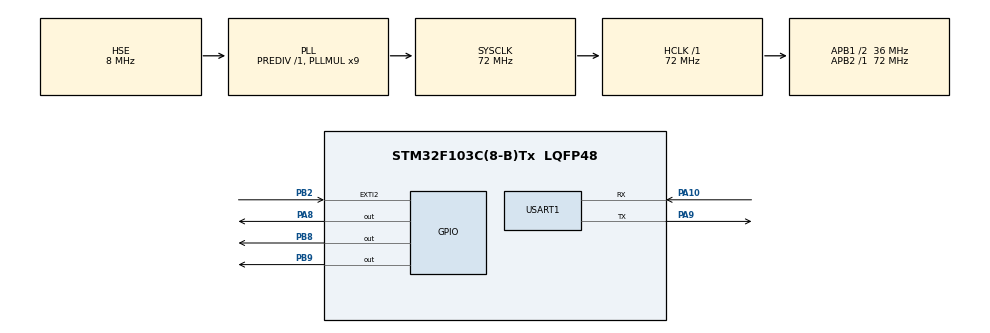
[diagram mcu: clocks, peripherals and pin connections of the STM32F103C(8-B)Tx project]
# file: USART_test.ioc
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Dma.Request0=USART1_TX
Dma.USART1_TX.0.Direction=DMA_MEMORY_TO_PERIPH
Dma.USART1_TX.0.Instance=DMA1_Channel4
Dma.USART1_TX.0.MemDataAlignment=DMA_MDATAALIGN_BYTE
Dma.USART1_TX.0.MemInc=DMA_MINC_ENABLE
Dma.USART1_TX.0.Mode=DMA_NORMAL
Dma.USART1_TX.0.PeriphDataAlignment=DMA_PDATAALIGN_BYTE
Dma.USART1_TX.0.PeriphInc=DMA_PINC_DISABLE
Dma.USART1_TX.0.Priority=DMA_PRIORITY_LOW
IWDG.Prescaler=IWDG_PRESCALER_64
Mcu.Family=STM32F1
Mcu.Name=STM32F103C(8-B)Tx
Mcu.Package=LQFP48
NVIC.DMA1_Channel4_IRQn=true\:0\:0\:false\:false\:true\:false\:true\:true
NVIC.EXTI2_IRQn=true\:6\:0\:false\:false\:true\:true\:true\:true
NVIC.PriorityGroup=NVIC_PRIORITYGROUP_4
NVIC.TIM3_IRQn=true\:1\:0\:true\:false\:true\:false\:true\:true
NVIC.TimeBase=TIM3_IRQn
NVIC.TimeBaseIP=TIM3
NVIC.USART1_IRQn=true\:6\:0\:false\:false\:true\:true\:true\:true
PA10.Mode=Asynchronous
PA10.Signal=USART1_RX
PA13.Mode=Serial_Wire
PA13.Signal=SYS_JTMS-SWDIO
PA14.Mode=Serial_Wire
PA14.Signal=SYS_JTCK-SWCLK
PA8.GPIO_ModeDefaultOutputPP=GPIO_MODE_OUTPUT_PP
PA8.GPIO_PuPd=GPIO_NOPULL
PA8.GPIO_Speed=GPIO_SPEED_FREQ_HIGH
PA8.Signal=GPIO_Output
PA9.Mode=Asynchronous
PA9.Signal=USART1_TX
PB2.GPIO_ModeDefaultEXTI=GPIO_MODE_IT_RISING
PB2.GPIO_PuPd=GPIO_PULLDOWN
PB2.Signal=GPXTI2
PB8.GPIO_ModeDefaultOutputPP=GPIO_MODE_OUTPUT_OD
PB8.GPIO_PuPd=GPIO_NOPULL
PB8.GPIO_Speed=GPIO_SPEED_FREQ_HIGH
PB8.Signal=GPIO_Output
PB9.GPIO_ModeDefaultOutputPP=GPIO_MODE_OUTPUT_OD
PB9.GPIO_PuPd=GPIO_NOPULL
PB9.GPIO_Speed=GPIO_SPEED_FREQ_HIGH
PB9.PinState=GPIO_PIN_RESET
PB9.Signal=GPIO_Output
PC14-OSC32_IN.Mode=LSE-External-Oscillator
PC14-OSC32_IN.Signal=RCC_OSC32_IN
PC15-OSC32_OUT.Mode=LSE-External-Oscillator
PC15-OSC32_OUT.Signal=RCC_OSC32_OUT
PD0-OSC_IN.Mode=HSE-External-Oscillator
PD0-OSC_IN.Signal=RCC_OSC_IN
PD1-OSC_OUT.Mode=HSE-External-Oscillator
PD1-OSC_OUT.Signal=RCC_OSC_OUT
ProjectManager.HeapSize=0x200
ProjectManager.StackSize=0x400
ProjectManager.TargetToolchain=MDK-ARM V5.32
RCC.AHBFreq_Value=72000000
RCC.APB1CLKDivider=RCC_HCLK_DIV2
RCC.APB1Freq_Value=36000000
RCC.APB1TimFreq_Value=72000000
RCC.APB2Freq_Value=72000000
RCC.APB2TimFreq_Value=72000000
RCC.HCLKFreq_Value=72000000
RCC.PLLMUL=RCC_PLL_MUL9
RCC.PLLSourceVirtual=RCC_PLLSOURCE_HSE
RCC.SYSCLKFreq_VALUE=72000000
RCC.SYSCLKSource=RCC_SYSCLKSOURCE_PLLCLK
RCC.USBFreq_Value=72000000
USART1.VirtualMode=VM_ASYNC
VP_IWDG_VS_IWDG.Mode=IWDG_Activate
VP_SYS_VS_tim3.Mode=TIM3
board=custom

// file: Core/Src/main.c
/* USER CODE BEGIN Header */
/**
  ******************************************************************************
  * @file           : main.c
  * @brief          : Main program body
  ******************************************************************************
  * @attention
  *
  * Copyright (c) 2026 STMicroelectronics.
  * All rights reserved.
  *
  * This software is licensed under terms that can be found in the LICENSE file
  * in the root directory of this software component.
  * If no LICENSE file comes with this software, it is provided AS-IS.
  *
  ******************************************************************************
  */
/* USER CODE END Header */
#include "main.h"
#include "dma.h"
#include "iwdg.h"
#include "usart.h"
#include "gpio.h"

/* USER CODE BEGIN Includes */
  #include "sw_i2c.h"
  #include "bq76940.h"
  #include "bms_soc.h"

  /* FreeRTOS头文件 */
  #include "FreeRTOS.h"
  #include "task.h"
  #include "semphr.h"

/* USER CODE END Includes */

/* USER CODE BEGIN PD */

#define WDG_CHECK_INTERVAL_MS       100u
#define BMS_HEARTBEAT_TIMEOUT_MS   1500u
#define UART_HEARTBEAT_TIMEOUT_MS   500u

/* USER CODE END PD */

/* USER CODE BEGIN PV */
/* ===================== FreeRTOS 任务句柄与同步量 ===================== */
static TaskHandle_t      xBmsTaskHandle  = NULL;   /* BMS采集/保护任务 */
static TaskHandle_t      xUartTaskHandle = NULL;   /* 串口命令处理任务 */
SemaphoreHandle_t        xI2CMutex       = NULL;   /* I2C总线互斥量 (全局, usart.c也可能用到) */

/* 32-bit aligned counters are atomically readable on Cortex-M3. */
static volatile uint32_t s_bms_heartbeat = 0;
static volatile uint32_t s_uart_heartbeat = 0;
/* USER CODE END PV */

void SystemClock_Config(void);
/* USER CODE BEGIN PFP */
static void BMS_Task(void *pvParameters);
static void UART_Task(void *pvParameters);
/* USER CODE END PFP */

/* USER CODE BEGIN 0 */
/* ===================== 串口命令接收缓冲 ===================== */

/*============================================================================
 *  BMS_Task — 电池采集与保护 (周期500ms, ALERT可立即唤醒)
 *
 *  职责: BQ76940通信检查 → 数据更新 → SOC计算 → 保护判断 → ALERT处理
 *  优先级: 3 (最高应用级, 保护响应优先)
 *  栈大小: 256字 = 1024字节 (I2C + 数据处理)
 *  唤醒: ulTaskNotifyTake — 正常500ms超时唤醒, ALERT中断可立即唤醒
 *============================================================================*/
static void BMS_Task(void *pvParameters)
{
    (void)pvParameters;
    TickType_t xLastWakeTime = xTaskGetTickCount();

    for (;;)
    {
        /* 阻塞等待: 500ms超时 或 ALERT中断的xTaskNotifyGive提前唤醒 */
        ulTaskNotifyTake(pdTRUE, pdMS_TO_TICKS(500));

        xSemaphoreTake(xI2CMutex, portMAX_DELAY);

        /* 每一轮都推进时间基准; 通信失败后不能把整段停机时间补进SOC. */
        TickType_t xNow = xTaskGetTickCount();
        uint32_t dt_ms = (uint32_t)(xNow - xLastWakeTime);
        xLastWakeTime = xNow;
        if (dt_ms > BMS_SOC_MAX_DT_MS)
            dt_ms = BMS_SOC_MAX_DT_MS;

        /* ALERT 中断触发 → 立即读硬件报警 + 保护检查 */
        if (g_bq_alert_flag) {
            g_bq_alert_flag = 0;
            BQ76940_ReadAlerts();
            BQ76940_ProtectionCheck();
        }

        /* 周期性通信检查 + 数据更新 */
        if (BQ76940_CommCheck()) {
            BQ76940_UpdateAll();
            BQ76940_ReadAlerts();
            BQ76940_ProtectionCheck();

            /* SOC库仑计更新 — 每次采集后调用 */
            {
                int avg_cell_mv = bms_data.avg_cell_mv;  /* 由UpdateAll()动态计算 */
                int max_cell_mv = 0;
                int min_cell_mv = 0;
                uint8_t valid_cell_count = 0;

                for (int i = 0; i < CELL_COUNT; i++)
                {
                    if (!bms_data.cell_valid[i] || bms_data.cell_mv[i] <= 1000)
                        continue;

                    if (valid_cell_count == 0 || bms_data.cell_mv[i] > max_cell_mv)
                        max_cell_mv = bms_data.cell_mv[i];
                    if (valid_cell_count == 0 || bms_data.cell_mv[i] < min_cell_mv)
                        min_cell_mv = bms_data.cell_mv[i];
                    valid_cell_count++;
                }

                BQ76940_Protection_t protection;
                BQ76940_ProtectionGet(&protection);
                uint8_t calibration_valid =
                    (valid_cell_count == CELL_COUNT && bms_data.temp_valid &&
                     !protection.data_fault) ? 1 : 0;

                /* 电流通信失败时停止库仑积分, 防止用旧电流补算整段间隔. */
                if (bms_data.current_valid)
                {
                    SOC_Update(bms_data.current_mA,
                               avg_cell_mv,
                               max_cell_mv,
                               min_cell_mv,
                               calibration_valid,
                               bms_data.chg_on,
                               dt_ms);

                    /* 同步SOC百分比到bms_data (供串口status命令显示) */
                    SOC_State_t *soc = SOC_GetState();
                    bms_data.soc_percent = soc->soc_percent;
                }
            }
        }

        xSemaphoreGive(xI2CMutex);
        s_bms_heartbeat++;
    }
}

/*============================================================================
 *  UART_Task — 串口命令处理 (周期50ms)
 *
 *  职责: 轮询串口命令就绪标志 → 解析执行
 *  优先级: 2 (低于BMS, 命令响应可稍延迟)
 *  栈大小: 256字 = 1024字节 (snprintf + 字符串处理)
 *  I2C保护: 执行命令前获取互斥量, 避免与BMS_Task竞争总线
 *============================================================================*/
static void UART_Task(void *pvParameters)
{
    (void)pvParameters;

    for (;;)
    {
        /* 获取I2C互斥量后再处理命令 (bal/chg/dsg等命令需要I2C操作) */
        xSemaphoreTake(xI2CMutex, portMAX_DELAY);
        UART_CmdProcess();
        xSemaphoreGive(xI2CMutex);

        /* 50ms轮询, CLI响应足够灵敏 */
        vTaskDelay(pdMS_TO_TICKS(50));
        s_uart_heartbeat++;
    }
}

/* USER CODE END 0 */

int main(void)
{

  /* MCU Configuration--------------------------------------------------------*/

  /* Reset of all peripherals, Initializes the Flash interface and the Systick. */
  HAL_Init();

  /* Configure the system clock */
  SystemClock_Config();

  /* Initialize all configured peripherals */
  MX_GPIO_Init();
  MX_DMA_Init();
  MX_USART1_UART_Init();
  MX_IWDG_Init();
  /* USER CODE BEGIN 2 */
  SW_I2C_Init();
  BQ76940_Init();
  SOC_Init();                       /* SOC模块初始化(Flash恢复) */
  UART_StartReceive();              /* 启动串口命令接收 */
  UART_DMA_Init();                   /* 初始化DMA发送信号量 */

  /* ---- 创建FreeRTOS同步量 ---- */
  xI2CMutex = xSemaphoreCreateMutex();
  configASSERT(xI2CMutex);          /* 创建失败=堆不足, 直接停机 */

  /* ---- 创建应用任务 ----
   *  任务              优先级  栈(字)   说明
   *  BMS_Task          3       256      电池采集+保护, 最高
   *  UART_Task         2       256      串口命令处理
   *  Idle(内建)        0       128      空闲任务
   */
  xTaskCreate(BMS_Task,  "BMS",  256, NULL, 3, &xBmsTaskHandle);
  xTaskCreate(UART_Task, "UART", 256, NULL, 2, &xUartTaskHandle);

  /* 注册BMS_Task接收ALERT中断的任务通知 */
  BQ76940_SetAlertTask((void *)xBmsTaskHandle);

  /* ---- 启动调度器 (不返回) ---- */
  vTaskStartScheduler();

  /* 到这里说明堆不足, 无法创建Idle任务 */
  /* USER CODE END 2 */

  /* Infinite loop */
  while (1)
  {

    /* USER CODE BEGIN 3 */
    /* 不应到达此处 — FreeRTOS调度器异常 */
  }
  /* USER CODE END 3 */
}

void SystemClock_Config(void)
{
  RCC_OscInitTypeDef RCC_OscInitStruct = {0};
  RCC_ClkInitTypeDef RCC_ClkInitStruct = {0};

  /** Initializes the RCC Oscillators according to the specified parameters
  * in the RCC_OscInitTypeDef structure.
  */
  RCC_OscInitStruct.OscillatorType = RCC_OSCILLATORTYPE_LSI|RCC_OSCILLATORTYPE_HSE;
  RCC_OscInitStruct.HSEState = RCC_HSE_ON;
  RCC_OscInitStruct.HSEPredivValue = RCC_HSE_PREDIV_DIV1;
  RCC_OscInitStruct.HSIState = RCC_HSI_ON;
  RCC_OscInitStruct.LSIState = RCC_LSI_ON;
  RCC_OscInitStruct.PLL.PLLState = RCC_PLL_ON;
  RCC_OscInitStruct.PLL.PLLSource = RCC_PLLSOURCE_HSE;
  RCC_OscInitStruct.PLL.PLLMUL = RCC_PLL_MUL9;
  if (HAL_RCC_OscConfig(&RCC_OscInitStruct) != HAL_OK)
  {
    Error_Handler();
  }

  /** Initializes the CPU, AHB and APB buses clocks
  */
  RCC_ClkInitStruct.ClockType = RCC_CLOCKTYPE_HCLK|RCC_CLOCKTYPE_SYSCLK
                              |RCC_CLOCKTYPE_PCLK1|RCC_CLOCKTYPE_PCLK2;
  RCC_ClkInitStruct.SYSCLKSource = RCC_SYSCLKSOURCE_PLLCLK;
  RCC_ClkInitStruct.AHBCLKDivider = RCC_SYSCLK_DIV1;
  RCC_ClkInitStruct.APB1CLKDivider = RCC_HCLK_DIV2;
  RCC_ClkInitStruct.APB2CLKDivider = RCC_HCLK_DIV1;

  if (HAL_RCC_ClockConfig(&RCC_ClkInitStruct, FLASH_LATENCY_2) != HAL_OK)
  {
    Error_Handler();
  }
}

/* USER CODE BEGIN 4 */

/*============================================================================
 *  vApplicationIdleHook — FreeRTOS空闲钩子
 *  当CPU无其他任务可调度时自动调用
 *  职责:
 *    1. 检查BMS/UART心跳, 两者按时推进才刷新IWDG
 *       任一任务死循环、返回或卡死超过时限都会停止喂狗并复位
 *    2. WFI省电 — 等待中断唤醒, 降低CPU功耗
 *============================================================================*/
void vApplicationIdleHook(void)
{
    static uint8_t initialized = 0;
    static uint32_t last_check_tick = 0;
    static uint32_t last_bms_heartbeat = 0;
    static uint32_t last_uart_heartbeat = 0;
    static uint32_t last_bms_change_tick = 0;
    static uint32_t last_uart_change_tick = 0;

    uint32_t now = HAL_GetTick();

    if (!initialized)
    {
        initialized = 1;
        last_check_tick = now;
        last_bms_heartbeat = s_bms_heartbeat;
        last_uart_heartbeat = s_uart_heartbeat;
        last_bms_change_tick = now;
        last_uart_change_tick = now;
        __WFI();
        return;
    }

    if ((uint32_t)(now - last_check_tick) < WDG_CHECK_INTERVAL_MS)
    {
        __WFI();
        return;
    }
    last_check_tick = now;

    uint32_t bms_heartbeat = s_bms_heartbeat;
    uint32_t uart_heartbeat = s_uart_heartbeat;

    if (bms_heartbeat != last_bms_heartbeat)
    {
        last_bms_heartbeat = bms_heartbeat;
        last_bms_change_tick = now;
    }

    if (uart_heartbeat != last_uart_heartbeat)
    {
        last_uart_heartbeat = uart_heartbeat;
        last_uart_change_tick = now;
    }

    uint8_t bms_alive =
        (uint32_t)(now - last_bms_change_tick) <= BMS_HEARTBEAT_TIMEOUT_MS;
    uint8_t uart_alive =
        (uint32_t)(now - last_uart_change_tick) <= UART_HEARTBEAT_TIMEOUT_MS;

    if (bms_alive && uart_alive)
        HAL_IWDG_Refresh(&hiwdg);

    __WFI();
}

/* USER CODE END 4 */

void HAL_TIM_PeriodElapsedCallback(TIM_HandleTypeDef *htim)
{
  if (htim->Instance == TIM3)
  {
    HAL_IncTick();
  }
}

void Error_Handler(void)
{
  __disable_irq();
  while (1)
  {
  }
}
